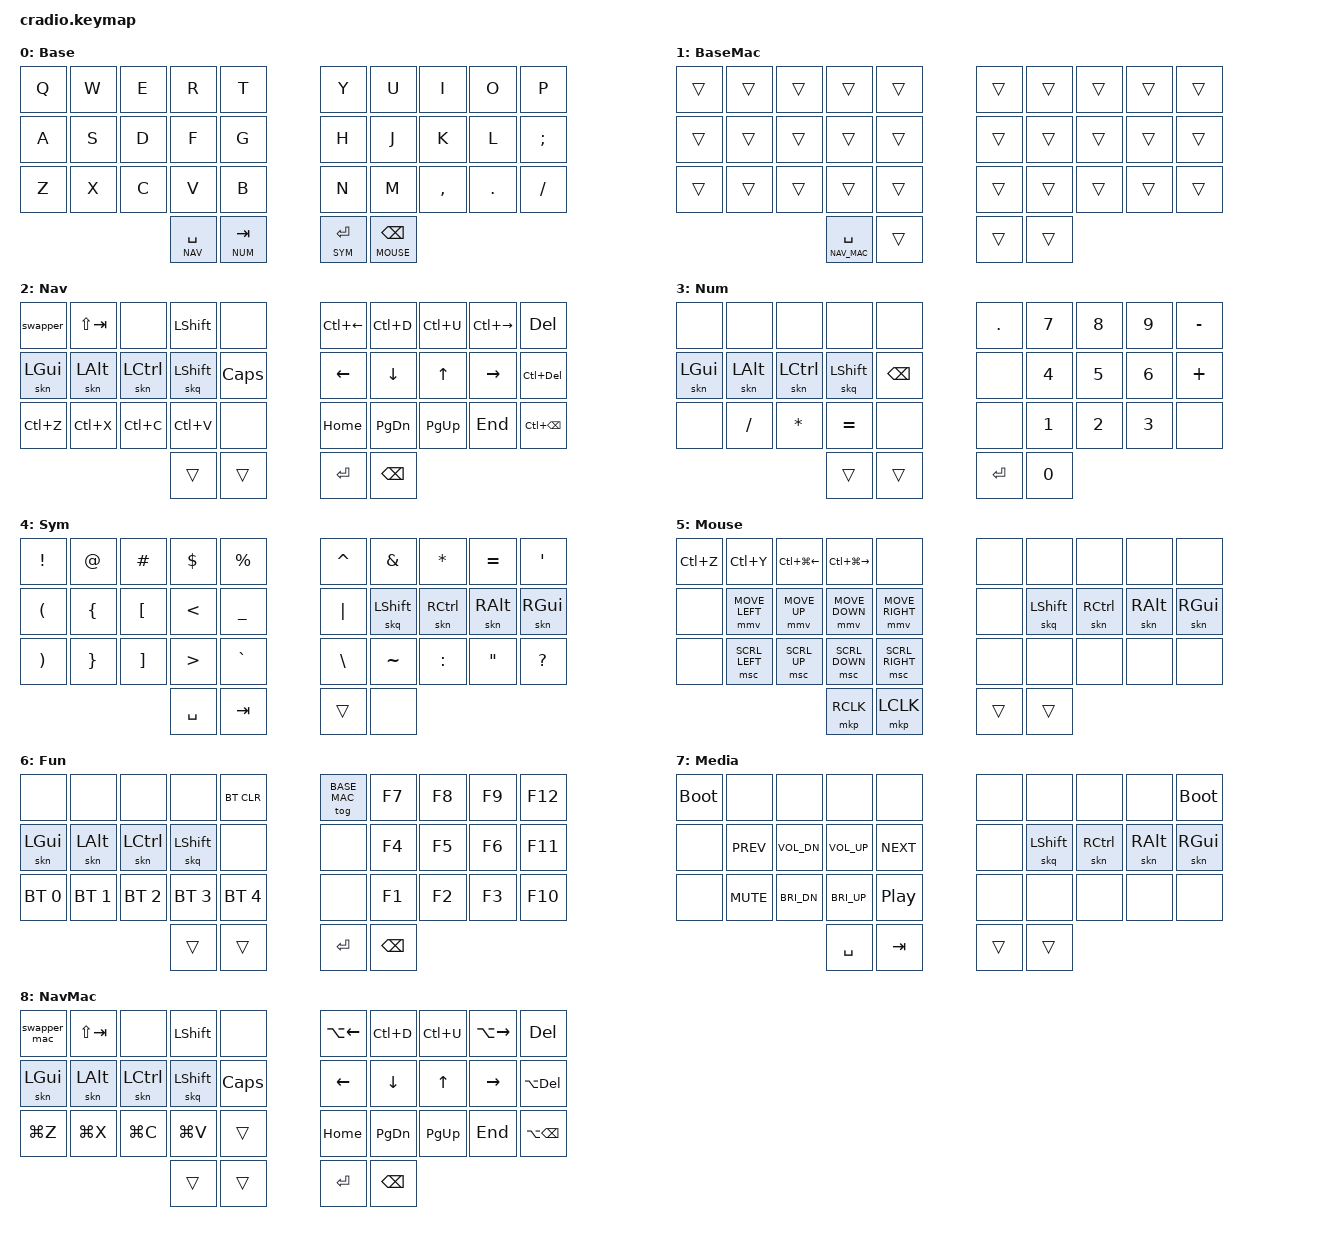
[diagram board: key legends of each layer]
/*
 * Ferris Sweep (cradio) 34 键布局
 * Callum OSM + Vim Nav 核心
 *
 * 布局：3x5+2 (每侧 17 键)
 * 拇指键：
 *   左: SPACE(NAV) TAB(NUM)  |  右: ENTER(SYM) BSPC(MOUSE)
 *   FUN = 左双拇指 combo  |  MEDIA = 右双拇指 combo
 *
 * Layer 0: Base     - QWERTY
 * Layer 1: BaseMac  - Mac 模式开关层（FUN+Y 切换）：全透明，仅左拇指 SPACE 进入 NavMac
 * Layer 2: Nav      - 左手 OSM + 右手 Vim HJKL
 * Layer 3: Numpad   - 左手算术运算 + 右手纯数字九宫格
 * Layer 4: Symbols  - 左手符号区 + 右手 OSM 修饰键
 * Layer 5: Mouse    - 左手鼠标移动/滚轮/点击 + 右手 OSM
 * Layer 6: Function - 左手 OSM/BT + 右手 F 键九宫格（Y 位 = Win/Mac 模式开关）
 * Layer 7: Media    - 左手媒体/音量/亮度 + 右手 OSM
 * Layer 8: NavMac   - Nav 的 Mac 版 (Cmd 剪贴板, Option 词跳)
 *
 * SPDX-License-Identifier: MIT
 */

#include <behaviors.dtsi>
#include <dt-bindings/zmk/keys.h>
#include <dt-bindings/zmk/bt.h>
#include <dt-bindings/zmk/outputs.h>

#define ZMK_POINTING_DEFAULT_MOVE_VAL 1500
#define ZMK_POINTING_DEFAULT_SCRL_VAL 20
#include <dt-bindings/zmk/pointing.h>

#define BASE     0
#define BASE_MAC 1
#define NAV      2
#define NUM      3
#define SYM      4
#define MOUSE    5
#define FUN      6
#define MEDIA    7
#define NAV_MAC  8

// Cradio 键位编号 (34 键):
//  0  1  2  3  4       5  6  7  8  9
// 10 11 12 13 14      15 16 17 18 19
// 20 21 22 23 24      25 26 27 28 29
//             30 31  32 33

&mmv {
    acceleration-exponent = <1>;
    time-to-max-speed-ms = <500>;
    delay-ms = <0>;
};

&msc {
    acceleration-exponent = <1>;
    time-to-max-speed-ms = <500>;
    delay-ms = <0>;
};

&caps_word {
    continue-list = <UNDERSCORE MINUS BSPC DEL>;
};

/ {
    behaviors {
        skq: sticky_key_quick_release {
            compatible = "zmk,behavior-sticky-key";
            #binding-cells = <1>;
            bindings = <&kp>;
            release-after-ms = <1000>;
            quick-release;
            ignore-modifiers;
        };

        skn: sticky_key_normal {
            compatible = "zmk,behavior-sticky-key";
            #binding-cells = <1>;
            bindings = <&kp>;
            release-after-ms = <1000>;
            ignore-modifiers;
        };

        tlt: thumb_layer_tap {
            compatible = "zmk,behavior-hold-tap";
            #binding-cells = <2>;
            flavor = "balanced";
            tapping-term-ms = <200>;
            quick-tap-ms = <150>;
            bindings = <&mo>, <&kp>;
        };
    };

    macros {
        swapper: swapper {
            compatible = "zmk,behavior-macro";
            #binding-cells = <0>;
            wait-ms = <30>;
            tap-ms = <30>;
            bindings
                = <&macro_press &kp LALT>
                , <&macro_tap &kp TAB>
                , <&macro_pause_for_release>
                , <&macro_release &kp LALT>
                ;
        };

        swapper_mac: swapper_mac {
            compatible = "zmk,behavior-macro";
            #binding-cells = <0>;
            wait-ms = <30>;
            tap-ms = <30>;
            bindings
                = <&macro_press &kp LGUI>
                , <&macro_tap &kp TAB>
                , <&macro_pause_for_release>
                , <&macro_release &kp LGUI>
                ;
        };
    };

    combos {
        compatible = "zmk,combos";

        // S + D = ESC
        combo_esc {
            timeout-ms = <50>;
            key-positions = <11 12>;
            bindings = <&kp ESC>;
            layers = <BASE BASE_MAC>;
            require-prior-idle-ms = <200>;
        };


        // J + K = LSHFT
        combo_lshft {
            timeout-ms = <50>;
            key-positions = <16 17>;
            bindings = <&kp LSHFT>;
            layers = <BASE BASE_MAC>;
            require-prior-idle-ms = <150>;
        };

        // SPC + TAB = FUN
        combo_fun_layer {
            timeout-ms = <50>;
            key-positions = <30 31>;
            bindings = <&mo FUN>;
            layers = <BASE BASE_MAC>;
        };

        // ENT + BSPC = MEDIA
        combo_media_layer {
            timeout-ms = <50>;
            key-positions = <32 33>;
            bindings = <&mo MEDIA>;
            layers = <BASE BASE_MAC>;
        };
    };

    keymap {
        compatible = "zmk,keymap";

        default_layer {
            display-name = "Base";
// ┌─────┬─────┬─────┬─────┬─────┐   ┌─────┬─────┬─────┬─────┬─────┐
// │  Q  │  W  │  E  │  R  │  T  │   │  Y  │  U  │  I  │  O  │  P  │
// ├─────┼─────┼─────┼─────┼─────┤   ├─────┼─────┼─────┼─────┼─────┤
// │  A  │  S  │  D  │  F  │  G  │   │  H  │  J  │  K  │  L  │  ;  │
// ├─────┼─────┼─────┼─────┼─────┤   ├─────┼─────┼─────┼─────┼─────┤
// │  Z  │  X  │  C  │  V  │  B  │   │  N  │  M  │  ,  │  .  │  /  │
// └─────┴─────┴─────┼─────┼─────┤   ├─────┼─────┼─────┴─────┴─────┘
//                   │SPACE│ TAB │   │ENTER│BSPC │
//                   │(NAV)│(NUM)│   │(SYM)│(MOU)│
//                   └─────┴─────┘   └─────┴─────┘
            bindings = <
&kp Q  &kp W  &kp E  &kp R  &kp T       &kp Y  &kp U  &kp I      &kp O    &kp P
&kp A  &kp S  &kp D  &kp F  &kp G       &kp H  &kp J  &kp K      &kp L    &kp SEMI
&kp Z  &kp X  &kp C  &kp V  &kp B       &kp N  &kp M  &kp COMMA  &kp DOT  &kp FSLH
              &tlt NAV SPACE  &tlt NUM TAB       &tlt SYM RET  &tlt MOUSE BSPC
            >;
        };

        base_mac_layer {
            display-name = "BaseMac";
// Mac 模式开关层（FUN + Y 切换）：全透明，仅左拇指 SPACE 改为进入 NAV_MAC
            bindings = <
&trans  &trans  &trans  &trans  &trans      &trans  &trans  &trans  &trans  &trans
&trans  &trans  &trans  &trans  &trans      &trans  &trans  &trans  &trans  &trans
&trans  &trans  &trans  &trans  &trans      &trans  &trans  &trans  &trans  &trans
              &tlt NAV_MAC SPACE  &trans             &trans  &trans
            >;
        };

        nav_layer {
            display-name = "Nav";
// ┌─────┬─────┬─────┬─────┬─────┐   ┌─────┬─────┬─────┬─────┬─────┐
// │ SWP │S-TAB│none │LSHFT│none │   │C(←) │ C-D │ C-U │C(→) │ DEL │
// ├─────┼─────┼─────┼─────┼─────┤   ├─────┼─────┼─────┼─────┼─────┤
// │ GUI │ ALT │CTRL │LSHFT│CAPS │   │  ←  │  ↓  │  ↑  │  →  │C(DEL)│
// ├─────┼─────┼─────┼─────┼─────┤   ├─────┼─────┼─────┼─────┼─────┤
// │C(Z) │C(X) │C(C) │C(V) │ ME  │   │HOME │PgDn │PgUp │ END │C(BS)│
// └─────┴─────┴─────┼─────┼─────┤   ├─────┼─────┼─────┴─────┴─────┘
//                   │▓▓▓▓▓│     │   │     │     │
//                   └─────┴─────┘   └─────┴─────┘
            bindings = <
&swapper   &kp LS(TAB)  &none    &kp LSHFT  &none       &kp LC(LEFT) &kp LC(D)  &kp LC(U)  &kp LC(RIGHT) &kp DEL
&skn LGUI  &skn LALT    &skn LCTRL &skq LSHFT &kp CAPS      &kp LEFT     &kp DOWN   &kp UP     &kp RIGHT     &kp LC(DEL)
&kp LC(Z)  &kp LC(X)    &kp LC(C)  &kp LC(V)  &none           &kp HOME     &kp PG_DN  &kp PG_UP  &kp END       &kp LC(BSPC)
                                    &trans     &trans          &kp RET       &kp BSPC
            >;
        };

        num_layer {
            display-name = "Num";
// ┌─────┬─────┬─────┬─────┬─────┐   ┌─────┬─────┬─────┬─────┬─────┐
// │     │     │     │     │     │   │  .  │  7  │  8  │  9  │  -  │
// ├─────┼─────┼─────┼─────┼─────┤   ├─────┼─────┼─────┼─────┼─────┤
// │ GUI │ ALT │CTRL │LSHFT│BSPC │   │     │  4  │  5  │  6  │  +  │
// ├─────┼─────┼─────┼─────┼─────┤   ├─────┼─────┼─────┼─────┼─────┤
// │     │  /  │  *  │  =  │     │   │     │  1  │  2  │  3  │     │
// └─────┴─────┴─────┼─────┼─────┤   ├─────┼─────┼─────┴─────┴─────┘
//                   │     │▓▓▓▓▓│   │     │  0  │
//                   └─────┴─────┘   └─────┴─────┘
            bindings = <
&none      &none      &none       &none      &none           &kp DOT   &kp N7  &kp N8  &kp N9  &kp MINUS
&skn LGUI  &skn LALT  &skn LCTRL  &skq LSHFT &kp BSPC       &none     &kp N4  &kp N5  &kp N6  &kp PLUS
&none      &kp FSLH   &kp ASTRK   &kp EQUAL  &none           &none     &kp N1  &kp N2  &kp N3  &none
                                   &trans     &trans          &kp RET    &kp N0
            >;
        };

        sym_layer {
            display-name = "Sym";
// ┌─────┬─────┬─────┬─────┬─────┐   ┌─────┬─────┬─────┬─────┬─────┐
// │  !  │  @  │  #  │  $  │  %  │   │  ^  │  &  │  *  │  =  │  '  │
// ├─────┼─────┼─────┼─────┼─────┤   ├─────┼─────┼─────┼─────┼─────┤
// │  (  │  {  │  [  │  <  │  _  │   │  |  │LSHFT│CTRL │ ALT │ GUI │
// ├─────┼─────┼─────┼─────┼─────┤   ├─────┼─────┼─────┼─────┼─────┤
// │  )  │  }  │  ]  │  >  │  `  │   │  \  │  ~  │  :  │  "  │  ?  │
// └─────┴─────┴─────┼─────┼─────┤   ├─────┼─────┼─────┴─────┴─────┘
//                   │     │     │   │▓▓▓▓▓│     │
//                   └─────┴─────┘   └─────┴─────┘
            bindings = <
&kp EXCL  &kp AT    &kp HASH  &kp DLLR  &kp PRCNT      &kp CARET  &kp AMPS    &kp ASTRK   &kp EQUAL  &kp SQT
&kp LPAR  &kp LBRC  &kp LBKT  &kp LT    &kp UNDER      &kp PIPE   &skq LSHFT  &skn RCTRL  &skn RALT  &skn RGUI
&kp RPAR  &kp RBRC  &kp RBKT  &kp GT    &kp GRAVE      &kp BSLH   &kp TILDE   &kp COLON   &kp DQT    &kp QMARK
                               &kp SPACE    &kp TAB          &trans     &none
            >;
        };

        mouse_layer {
            display-name = "Mouse";
// ┌─────┬─────┬─────┬─────┬─────┐   ┌─────┬─────┬─────┬─────┬─────┐
// │UNDO │REDO │VD_L │VD_R │     │   │     │     │     │     │     │
// ├─────┼─────┼─────┼─────┼─────┤   ├─────┼─────┼─────┼─────┼─────┤
// │     │ ML  │ MU  │ MD  │ MR  │   │     │LSHFT│CTRL │ ALT │ GUI │
// ├─────┼─────┼─────┼─────┼─────┤   ├─────┼─────┼─────┼─────┼─────┤
// │     │WH_L │WH_U │WH_D │WH_R │   │     │     │     │     │     │
// └─────┴─────┴─────┼─────┼─────┤   ├─────┼─────┼─────┴─────┴─────┘
//                   │RCLK │LCLK │   │     │▓▓▓▓▓│
//                   └─────┴─────┘   └─────┴─────┘
            bindings = <
&kp LC(Z)  &kp LC(Y)      &kp LC(LG(LEFT)) &kp LC(LG(RIGHT)) &none               &none   &none      &none      &none     &none
&none      &mmv MOVE_LEFT &mmv MOVE_UP     &mmv MOVE_DOWN     &mmv MOVE_RIGHT     &none   &skq LSHFT &skn RCTRL &skn RALT &skn RGUI
&none      &msc SCRL_LEFT &msc SCRL_UP     &msc SCRL_DOWN     &msc SCRL_RIGHT     &none   &none      &none      &none     &none
                                            &mkp RCLK          &mkp LCLK           &trans  &trans
            >;
        };

        fun_layer {
            display-name = "Fun";
// ┌─────┬─────┬─────┬─────┬─────┐   ┌─────┬─────┬─────┬─────┬─────┐
// │CANCL│ BLE │ USB │     │BTCLR│   │ MAC │ F7  │ F8  │ F9  │ F12 │
// ├─────┼─────┼─────┼─────┼─────┤   ├─────┼─────┼─────┼─────┼─────┤
// │ GUI │ ALT │CTRL │LSHFT│     │   │     │ F4  │ F5  │ F6  │ F11 │
// ├─────┼─────┼─────┼─────┼─────┤   ├─────┼─────┼─────┼─────┼─────┤
// │ BT0 │ BT1 │ BT2 │ BT3 │ BT4 │   │     │ F1  │ F2  │ F3  │ F10 │
// └─────┴─────┴─────┼─────┼─────┤   ├─────┼─────┼─────┴─────┴─────┘
//                   │▓▓▓▓▓│▓▓▓▓▓│   │     │     │
//                   └─────┴─────┘   └─────┴─────┘
            bindings = <
&none  &none  &none  &none         &bt BT_CLR       &tog BASE_MAC   &kp F7  &kp F8  &kp F9  &kp F12
&skn LGUI     &skn LALT     &skn LCTRL    &skq LSHFT    &none             &none   &kp F4  &kp F5  &kp F6  &kp F11
&bt BT_SEL 0  &bt BT_SEL 1  &bt BT_SEL 2  &bt BT_SEL 3 &bt BT_SEL 4             &none   &kp F1  &kp F2  &kp F3  &kp F10
                                           &trans        &trans           &kp RET  &kp BSPC
            >;
        };

        media_layer {
            display-name = "Media";
// ┌─────┬─────┬─────┬─────┬─────┐   ┌─────┬─────┬─────┬─────┬─────┐
// │BOOT │     │     │     │     │   │     │     │     │     │BOOT │
// ├─────┼─────┼─────┼─────┼─────┤   ├─────┼─────┼─────┼─────┼─────┤
// │     │PREV │VOL_D│VOL_U│NEXT │   │     │LSHFT│CTRL │ ALT │ GUI │
// ├─────┼─────┼─────┼─────┼─────┤   ├─────┼─────┼─────┼─────┼─────┤
// │     │MUTE │BRI_D│BRI_U│PLAY │   │     │     │     │     │     │
// └─────┴─────┴─────┼─────┼─────┤   ├─────┼─────┼─────┴─────┴─────┘
//                   │     │     │   │▓▓▓▓▓│▓▓▓▓▓│
//                   └─────┴─────┘   └─────┴─────┘
            bindings = <
&bootloader  &none       &none        &none        &none           &none   &none      &none      &none     &bootloader
&none   &kp C_PREV  &kp C_VOL_DN &kp C_VOL_UP &kp C_NEXT     &none   &skq LSHFT &skn RCTRL &skn RALT &skn RGUI
&none   &kp C_MUTE  &kp C_BRI_DN &kp C_BRI_UP &kp C_PP       &none   &none      &none      &none     &none
                                 &kp SPACE    &kp TAB          &trans  &trans
            >;
        };

        nav_mac_layer {
            display-name = "NavMac";
// ┌─────┬─────┬─────┬─────┬─────┐   ┌─────┬─────┬─────┬─────┬─────┐
// │ SWP │S-TAB│none │LSHFT│none │   │A(←) │ C-D │ C-U │A(→) │ DEL │
// ├─────┼─────┼─────┼─────┼─────┤   ├─────┼─────┼─────┼─────┼─────┤
// │ GUI │ ALT │CTRL │LSHFT│CAPS │   │  ←  │  ↓  │  ↑  │  →  │A(DEL)│
// ├─────┼─────┼─────┼─────┼─────┤   ├─────┼─────┼─────┼─────┼─────┤
// │G(Z) │G(X) │G(C) │G(V) │     │   │HOME │PgDn │PgUp │ END │A(BS)│
// └─────┴─────┴─────┼─────┼─────┤   ├─────┼─────┼─────┴─────┴─────┘
//                   │▓▓▓▓▓│     │   │     │     │
//                   └─────┴─────┘   └─────┴─────┘
            bindings = <
&swapper_mac &kp LS(TAB)  &none      &kp LSHFT  &none           &kp LA(LEFT) &kp LC(D)  &kp LC(U)  &kp LA(RIGHT) &kp DEL
&skn LGUI    &skn LALT    &skn LCTRL &skq LSHFT &kp CAPS      &kp LEFT     &kp DOWN   &kp UP     &kp RIGHT     &kp LA(DEL)
&kp LG(Z)   &kp LG(X)    &kp LG(C)  &kp LG(V)  &trans          &kp HOME     &kp PG_DN  &kp PG_UP  &kp END       &kp LA(BSPC)
                                      &trans     &trans          &kp RET      &kp BSPC
            >;
        };
    };
};
